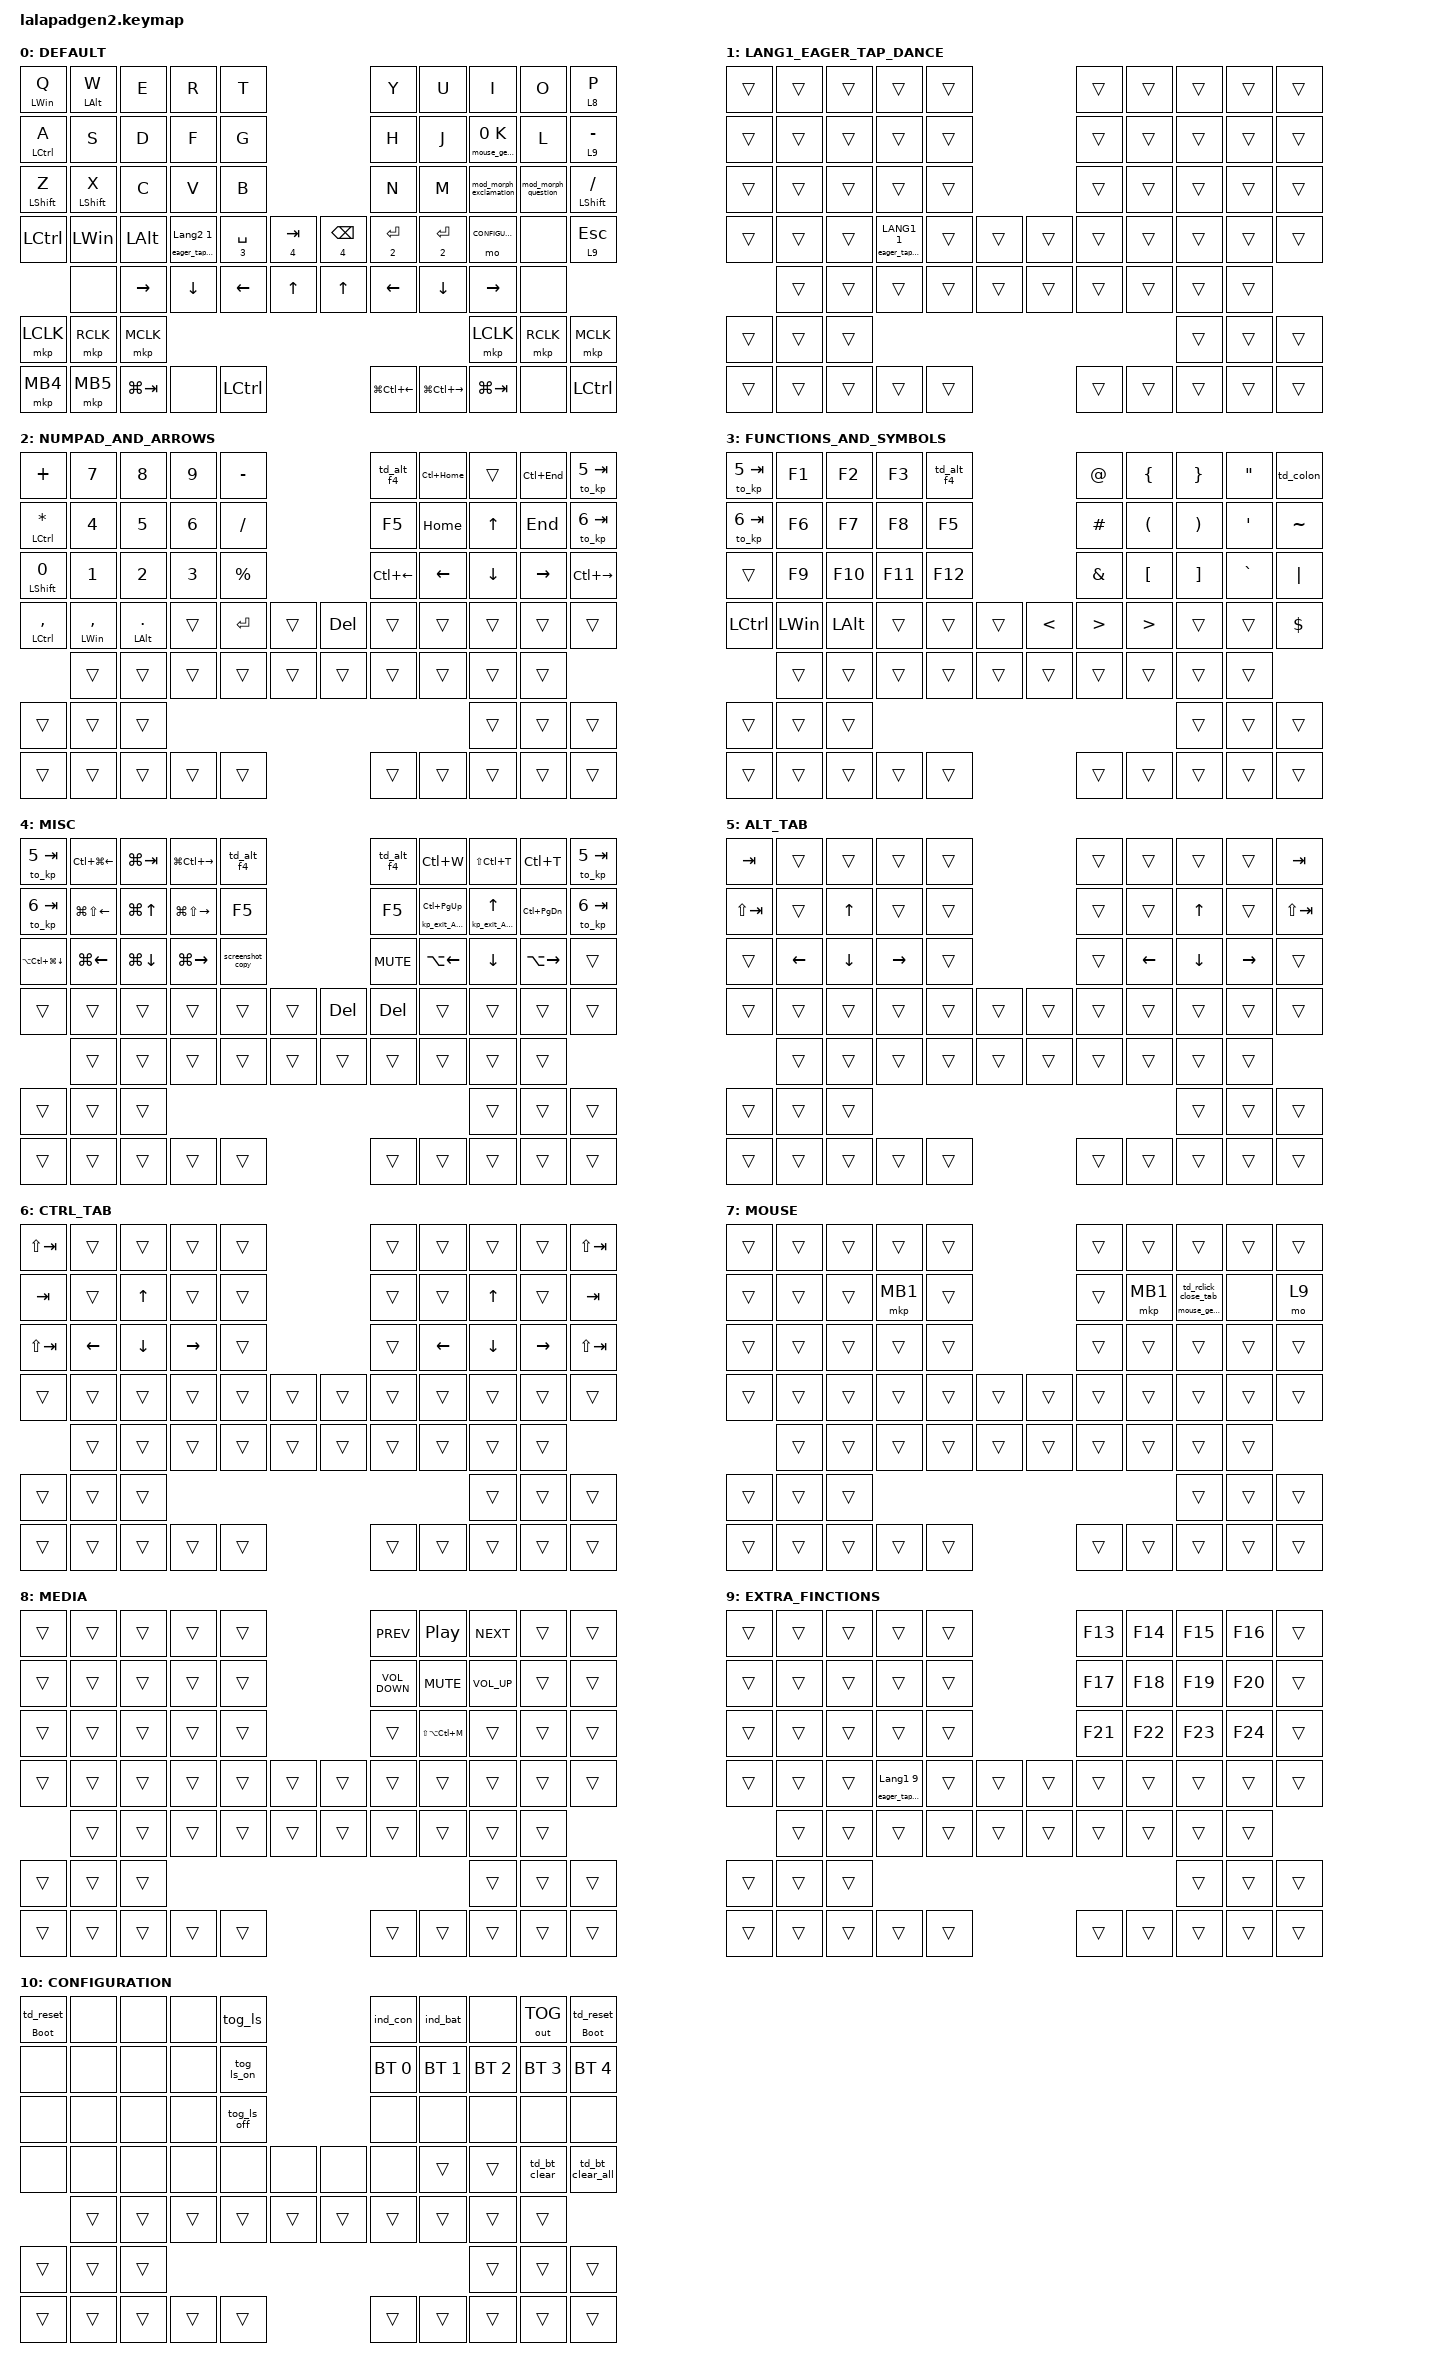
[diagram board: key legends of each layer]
#include <input/processors.dtsi>
#include <dt-bindings/zmk/input_transform.h>
#include <zephyr/dt-bindings/input/input-event-codes.h>
#include <behaviors/rgbled_widget.dtsi>
#include <input/processors/report_rate_limit.dtsi>


#include <behaviors.dtsi>
#include <dt-bindings/zmk/bt.h>
#include <dt-bindings/zmk/keys.h>
#include <dt-bindings/zmk/outputs.h>
#include <dt-bindings/zmk/pointing.h>

// #include <layout_shift.dtsi>
#include <layout_shift_kp_override.dtsi>
#include <mouse-gesture.dtsi>
#include <scroll-snap.dtsi>

#define DEFAULT 0
#define LANG1_EAGER_TAP_DANCE 1
#define NUMPAD_AND_ARROWS 2
#define FUNCTIONS_AND_SYMBOLS 3
#define MISC 4
#define ALT_TAB 5
#define CTRL_TAB 6
#define MOUSE 7
#define MEDIA 8
#define EXTRA_FINCTIONS 9
#define CONFIGURATION 10

&mt {
    tapping-term-ms = <200>;
    quick-tap-ms = <250>;
    flavor = "balanced";
};

&lt {
    tapping-term-ms = <200>;
    quick-tap-ms = <250>;
    flavor = "balanced";
};

&to { /delete-property/ locking; };

&tog { /delete-property/ locking; };

&sk { release-after-ms = <700>; };

&sl { release-after-ms = <1000>; };

&mouse_gesture_kp {
    tapping-term-ms = <200>;
    quick-tap-ms = <250>;
    flavor = "balanced";
};

&mouse_gesture_mkp {
    tapping-term-ms = <200>;
    quick-tap-ms = <250>;
    flavor = "balanced";
};

&zip_temp_layer {
    require-prior-idle-ms = <200>;
    excluded-positions = <
        13 // F
        16 // J
        17 // K
        18 // L
        19 // ;
        20 // Z
        // 27 // .
        // 28 // ,
        // 29 // /
        30 // Ctrl
    >;
};

&mkp_input_listener { input-processors = <&zip_temp_layer MOUSE 10000>; };

&zip_mouse_gesture {
    stroke-size = <250>;
    enable-eager-mode;
    always-active;
    movement-threshold = <0>;

    event-code-x = <INPUT_REL_HWHEEL>;
    event-code-y = <INPUT_REL_WHEEL>;

    history_back {
        pattern = <GESTURE_RIGHT>;
        bindings = <&kp LA(RIGHT)>;
    };

    history_forward {
        pattern = <GESTURE_LEFT>;
        bindings = <&kp LA(LEFT)>;
    };

    // close_tab {
    //     pattern = <GESTURE_DOWN GESTURE_RIGHT>;
    //     bindings = <&kp LC(W)>;
    // };

    // new_tab {
    //     pattern = <GESTURE_DOWN GESTURE_LEFT>;
    //     bindings = <&kp LC(T)>;
    // };

    // app_switcher {
    //     pattern = <GESTURE_DOWN GESTURE_UP>;
    //     bindings = <&kp LG(TAB)>;
    // };

    // virtual_desktop_prev {
    //     pattern = <GESTURE_LEFT GESTURE_DOWN>;
    //     bindings = <&kp LG(LC(LEFT))>;
    // };

    // virtual_desktop_next {
    //     pattern = <GESTURE_RIGHT GESTURE_DOWN>;
    //     bindings = <&kp LG(LC(RIGHT))>;
    // };
};

&zip_scroll_snap {
    require-n-samples = <8>;
    immediate-snap-threshold = <750>;
    lock-duration-ms = <175>;
    lock-for-next-n-events = <8>;
    idle-reset-timeout-ms = <175>;
};

// &trackball_listener {
//     compatible = "zmk,input-listener";
//     input-processors = <
//         &zip_xy_transform (INPUT_TRANSFORM_XY_SWAP | INPUT_TRANSFORM_X_INVERT)
//         &zip_mouse_gesture
//         &zip_report_rate_limit 15
//         // &zip_cursor_snap
//     >;

//     auto-mouse-layer {
//         layers = <DEFAULT MOUSE>;
//         input-processors = <&zip_temp_layer MOUSE 10000>;
//         process-next;
//     };

//     scroller {
//         layers = <EXTRA_FINCTIONS MISC MEDIA>;
//         input-processors = <
//             &zip_xy_scaler 3 1
//             &zip_xy_transform (INPUT_TRANSFORM_XY_SWAP | INPUT_TRANSFORM_X_INVERT | INPUT_TRANSFORM_Y_INVERT)
//             &zip_xy_to_scroll_mapper
//             &zip_scroll_snap
//             &zip_report_rate_limit 15
//         >;

//         process-next;
//     };

//     disable-scroll-x {
//         layers = <EXTRA_FINCTIONS>;
//         input-processors = <&wheel_x_scaler 0 1>;

//         process-next;
//     };
// };

/ {
    input_processors {
        wheel_x_scaler: wheel_x_scaler {
            compatible = "zmk,input-processor-scaler";
            #input-processor-cells = <2>;
            type = <INPUT_EV_REL>;
            codes = <INPUT_REL_HWHEEL>;
            track-remainders;
        };
    };

    layer_listeners {
        compatible = "zmk,layer-listeners";

        release_alt {
            layers = <ALT_TAB>;
            bindings = <&kt_on LEFT_ALT &kt_off LEFT_ALT>;
        };

        release_ctrl {
            layers = <CTRL_TAB>;
            bindings = <&kt_on LCTRL &kt_off LCTRL>;
        };

        // AML_indicator {
        //     layers = <MOUSE>;
        //     bindings = <&kp LS(LA(LC(LG(H)))) &kp LS(LA(LC(LG(H))))>;
        // };
        // AML {
        //     layers = <MOUSE>;
        //     bindings = <&to MOUSE &none>;
        // };
    };

    combos {
        compatible = "zmk,combos";

        eq {
            bindings = <&kp EQUAL>;
            key-positions = <0 1>;
            layers = <2>;
        };

        hat {
            bindings = <&kp CARET>;
            key-positions = <10 11>;
            layers = <2>;
        };

        middle_click {
            bindings = <&mkp MCLK>;
            key-positions = <18 19>;
            layers = <7>;
        };

        shift_middle_click {
            bindings = <&mkp_with_mod LEFT_SHIFT MCLK>;
            key-positions = <19 20>;
            layers = <7>;
        };

        Escape {
            bindings = <&kp ESCAPE>;
            key-positions = <0 1>;
            layers = <0>;
            require-prior-idle-ms = <300>;
        };

        caps_word {
            bindings = <&caps_word>;
            key-positions = <22 33>;
            layers = <0>;
            require-prior-idle-ms = <300>;
        };

        dot_slash_backslash {
            bindings = <&kp BACKSLASH>;
            key-positions = <33 32>;
            layers = <0>;
        };

        Ctrl_A {
            bindings = <&kp LC(A)>;
            key-positions = <10 11>;
            layers = <0>;
            require-prior-idle-ms = <300>;
        };

        Ctrl_Z {
            bindings = <&kp LC(Z)>;
            key-positions = <23 22>;
            layers = <0>;
            require-prior-idle-ms = <300>;
        };
    };

    macros {
        /omit-if-no-ref/

        exit_AML: exit_AML {
            compatible = "zmk,behavior-macro";
            wait-ms = <0>;
            tap-ms = <0>;
            #binding-cells = <0>;
            bindings = <&tog_off 7>;
        };

        /omit-if-no-ref/

        kp_exit_AML: kp_exit_AML {
            compatible = "zmk,behavior-macro-one-param";
            wait-ms = <0>;
            tap-ms = <0>;
            #binding-cells = <1>;
            bindings = <&macro_param_1to1 &kp MACRO_PLACEHOLDER &exit_AML>;
        };

        /omit-if-no-ref/

        mod_exit_AML: mod_exit_AML {
            compatible = "zmk,behavior-macro-one-param";
            wait-ms = <0>;
            tap-ms = <0>;
            #binding-cells = <1>;
            bindings =
                <&macro_press>,
                <&macro_param_1to1 &kp MACRO_PLACEHOLDER>,
                <&macro_tap>,
                <&exit_AML>,
                <&macro_pause_for_release>,
                <&macro_release>,
                <&macro_param_1to1 &kp MACRO_PLACEHOLDER>;
        };

        /omit-if-no-ref/

        mkp_exit_AML: mkp_exit_AML {
            compatible = "zmk,behavior-macro-one-param";
            #binding-cells = <1>;
            bindings =
                <&macro_press>,
                <&macro_param_1to1 &mkp MACRO_PLACEHOLDER>,
                <&macro_pause_for_release>,
                <&macro_release>,
                <&macro_param_1to1 &mkp MACRO_PLACEHOLDER>,
                <&macro_tap>,
                <&sl 7>;
        };

        /omit-if-no-ref/

        mo_exit_AML: mo_exit_AML {
            compatible = "zmk,behavior-macro-one-param";
            wait-ms = <0>;
            tap-ms = <0>;
            #binding-cells = <1>;
            bindings =
                <&macro_press>,
                <&macro_param_1to1 &mo MACRO_PLACEHOLDER>,
                <&macro_tap>,
                <&exit_AML>,
                <&macro_pause_for_release>,
                <&macro_release>,
                <&macro_param_1to1 &mo MACRO_PLACEHOLDER>,
                <&macro_tap>;
        };

        /omit-if-no-ref/

        mo_exit_alttab: mo_exit_alttab_ctrltab {
            compatible = "zmk,behavior-macro-one-param";
            wait-ms = <0>;
            tap-ms = <0>;
            #binding-cells = <1>;
            bindings =
                <&macro_press>,
                <&macro_param_1to1 &mo MACRO_PLACEHOLDER>,
                <&macro_tap>,
                <&macro_pause_for_release>,
                <&macro_release>,
                <&macro_param_1to1 &mo MACRO_PLACEHOLDER>,
                <&macro_tap>,
                <&tog_off 5 &tog_off 6>;
        };

        /omit-if-no-ref/

        kp_to: kp_to {
            compatible = "zmk,behavior-macro-two-param";
            wait-ms = <0>;
            tap-ms = <0>;
            #binding-cells = <2>;
            bindings = <&macro_param_1to1 &kp MACRO_PLACEHOLDER &macro_param_2to1 &to MACRO_PLACEHOLDER>;
        };

        /omit-if-no-ref/

        to_kp: to_kp {
            compatible = "zmk,behavior-macro-two-param";
            #binding-cells = <2>;
            bindings = <&macro_param_1to1 &to MACRO_PLACEHOLDER &macro_param_2to1 &kp MACRO_PLACEHOLDER>;
        };

        /omit-if-no-ref/

        zoom_in: zoom_in {
            compatible = "zmk,behavior-macro";
            #binding-cells = <0>;
            bindings = <&kt_on LCTRL &msc SCRL_UP &kt_off LCTRL>;
        };

        /omit-if-no-ref/

        zoom_out: zoom_out {
            compatible = "zmk,behavior-macro";
            #binding-cells = <0>;
            bindings = <&kt_on LCTRL &msc SCRL_DOWN &kt_off LCTRL>;
        };

        /omit-if-no-ref/

        eager_tap_dance: eager_tap_dance {
            compatible = "zmk,behavior-macro-two-param";
            #binding-cells = <2>;
            bindings =
                <&macro_press>,
                <&macro_param_1to1 &kp MACRO_PLACEHOLDER>,
                <&macro_pause_for_release>,
                <&macro_release>,
                <&macro_param_1to1 &kp MACRO_PLACEHOLDER>,
                <&macro_tap>,
                <&exit_AML &macro_param_2to1 &sl_250 MACRO_PLACEHOLDER>;
        };
    };

    behaviors {
        /omit-if-no-ref/

        tog_on: toggle_layer_on {
            compatible = "zmk,behavior-toggle-layer";
            #binding-cells = <1>;
            display-name = "Toggle Layer On";
            toggle-mode = "on";
        };

        /omit-if-no-ref/

        tog_off: toggle_layer_off {
            compatible = "zmk,behavior-toggle-layer";
            #binding-cells = <1>;
            display-name = "Toggle Layer Off";
            toggle-mode = "off";
        };

        /omit-if-no-ref/

        kt_on: key_toggle_on_only {
            compatible = "zmk,behavior-key-toggle";
            #binding-cells = <1>;
            display-name = "Key Toggle On";
            toggle-mode = "on";
        };

        /omit-if-no-ref/

        kt_off: key_toggle_off_only {
            compatible = "zmk,behavior-key-toggle";
            #binding-cells = <1>;
            display-name = "Key Toggle Off";
            toggle-mode = "off";
        };

        /omit-if-no-ref/

        td_colon: td_colon {
            compatible = "zmk,behavior-tap-dance";
            #binding-cells = <0>;
            bindings = <&kp COLON>, <&kp SEMICOLON>;

            tapping-term-ms = <250>;
        };

        /omit-if-no-ref/

        td_q_escape: td_q_escape {
            compatible = "zmk,behavior-tap-dance";
            #binding-cells = <0>;
            tapping-term-ms = <250>;
            bindings = <&kp Q>, <&kp ESCAPE>;
        };

        /omit-if-no-ref/

        td_ZenkakuHankaku: td_ZenkakuHankaku {
            compatible = "zmk,behavior-tap-dance";

            // compatible = "zmk,behavior-eager-tap-dance";

            #binding-cells = <0>;
            tapping-term-ms = <250>;
            bindings = <&kp LANGUAGE_2>, <&kp LANGUAGE_1>;
        };

        /omit-if-no-ref/

        td_ZenkakuHankaku_exit_AML: td_ZenkakuHankaku_exit_AML {
            wait-ms = <0>;
            tap-ms = <0>;
            compatible = "zmk,behavior-macro";
            #binding-cells = <0>;
            bindings = <&td_ZenkakuHankaku &exit_AML>;
        };

        /omit-if-no-ref/

        alt_tab: alt_tab {
            compatible = "zmk,behavior-macro-two-param";
            #binding-cells = <2>;
            bindings = <&macro_param_1to1 &kt_on MACRO_PLACEHOLDER &macro_param_2to1 &kp MACRO_PLACEHOLDER &macro_param_1to1 &sk MACRO_PLACEHOLDER &macro_param_1to1 &kt_off MACRO_PLACEHOLDER>;
        };

        /omit-if-no-ref/

        windows_sleep: windows_sleep {
            compatible = "zmk,behavior-macro";
            wait-ms = <200>;
            tap-ms = <100>;
            #binding-cells = <0>;
            bindings = <&kp LG(X) &kp U &kp S>;
        };

        /omit-if-no-ref/

        screensot_save: screensot_save {
            compatible = "zmk,behavior-macro";
            #binding-cells = <0>;
            bindings = <&kp LS(F11)>;
            label = "SCREENSOT_SAVE";
        };

        mkp_with_mod: mkp_with_mod {
            compatible = "zmk,behavior-macro-two-param";
            #binding-cells = <2>;
            bindings =
                <&macro_press>,
                <&macro_param_1to1 &kp MACRO_PLACEHOLDER &macro_param_2to1 &mkp MACRO_PLACEHOLDER>,
                <&macro_pause_for_release>,
                <&macro_release>,
                <&macro_param_2to1 &mkp MACRO_PLACEHOLDER &macro_param_1to1 &kp MACRO_PLACEHOLDER>;

            label = "MKP_WITH_MOD";
        };

        /omit-if-no-ref/

        screenshot_copy: screenshot_copy {
            compatible = "zmk,behavior-mod-morph";
            bindings = <&kp LA(PRINTSCREEN)>, <&kp LA(PRINTSCREEN)>;

            #binding-cells = <0>;
            mods = <(MOD_LSFT|MOD_LALT)>;
            keep-mods = <(MOD_LALT)>;
        };

        /omit-if-no-ref/

        mod_morph_exclamation: mod_morph_exclamation {
            compatible = "zmk,behavior-mod-morph";
            bindings = <&kp COMMA>, <&kp EXCL>;

            #binding-cells = <0>;
            mods = <(MOD_LSFT)>;
        };

        /omit-if-no-ref/

        mod_morph_question: mod_morph_question {
            compatible = "zmk,behavior-mod-morph";
            bindings = <&kp PERIOD>, <&kp QUESTION>;

            #binding-cells = <0>;
            mods = <(MOD_LSFT)>;
        };

        /omit-if-no-ref/

        mod_morph_slash: mod_morph_slash {
            compatible = "zmk,behavior-mod-morph";
            bindings = <&kp SLASH>, <&kp BACKSLASH>;

            #binding-cells = <0>;
            mods = <(MOD_LSFT)>;
        };

        /omit-if-no-ref/

        td_alt_f4: td_alt_f4 {
            compatible = "zmk,behavior-tap-dance";
            #binding-cells = <0>;
            bindings = <&kp F4>, <&kp LA(F4)>;

            tapping-term-ms = <250>;
        };

        /omit-if-no-ref/

        lt_exit_AML: lt_exit_AML {
            compatible = "zmk,behavior-hold-tap";
            bindings = <&mo_exit_AML>, <&kp_exit_AML>;

            #binding-cells = <2>;
            tapping-term-ms = <200>;
            quick-tap-ms = <200>;
            flavor = "balanced";
        };

        /omit-if-no-ref/

        lt_exit_AML_on_hold: lt_exit_AML_on_hold {
            compatible = "zmk,behavior-hold-tap";
            bindings = <&mo_exit_AML>, <&kp>;

            #binding-cells = <2>;
            tapping-term-ms = <200>;
            quick-tap-ms = <200>;
            flavor = "balanced";
        };

        /omit-if-no-ref/

        lt_exit_alttab: lt_exit_alttab_ctrltab_on_hold_release {
            compatible = "zmk,behavior-hold-tap";
            bindings = <&mo_exit_alttab>, <&kp>;

            #binding-cells = <2>;
            tapping-term-ms = <200>;
            quick-tap-ms = <200>;
            flavor = "balanced";
        };

        /omit-if-no-ref/

        mt_exit_AML: mt_exit_AML {
            compatible = "zmk,behavior-hold-tap";
            bindings = <&mod_exit_AML>, <&kp_exit_AML>;

            #binding-cells = <2>;
            tapping-term-ms = <200>;
            flavor = "balanced";
            quick-tap-ms = <200>;
        };

        /omit-if-no-ref/

        mt_exit_AML_on_tap: mt_exit_AML_on_tap {
            compatible = "zmk,behavior-hold-tap";
            bindings = <&kp>, <&kp_exit_AML>;

            #binding-cells = <2>;
            tapping-term-ms = <200>;
            flavor = "balanced";
            quick-tap-ms = <200>;
        };

        /omit-if-no-ref/

        encoder_zoom: encoder_zoom {
            compatible = "zmk,behavior-sensor-rotate";
            #sensor-binding-cells = <0>;
            bindings = <&zoom_out>, <&zoom_in>;
        };

        /omit-if-no-ref/

        encoder_volume: encoder_volume {
            compatible = "zmk,behavior-sensor-rotate";
            #sensor-binding-cells = <0>;
            bindings = <&kp C_VOLUME_DOWN>, <&kp C_VOLUME_UP>;
        };

        // /omit-if-no-ref/

        lt_zoom_out: lt_zoom_out {
            compatible = "zmk,behavior-hold-tap";
            bindings = <&mo_exit_AML>, <&zoom_out>;

            #binding-cells = <2>;
            tapping-term-ms = <200>;
            quick-tap-ms = <200>;
            flavor = "balanced";
        };

        /omit-if-no-ref/

        sl_250: sl_250 {
            compatible = "zmk,behavior-sticky-key";
            bindings = <&mo>;
            #binding-cells = <1>;
            release-after-ms = <250>;
        };

        /omit-if-no-ref/

        td_bt_clear: td_bt_clear {
            compatible = "zmk,behavior-tap-dance";
            #binding-cells = <0>;
            bindings = <&none>, <&none>, <&bt BT_CLR>;

            tapping-term-ms = <250>;
        };

        /omit-if-no-ref/

        td_bt_clear_all: td_bt_clear_all {
            compatible = "zmk,behavior-tap-dance";
            #binding-cells = <0>;
            tapping-term-ms = <250>;
            bindings = <&none>, <&none>, <&bt BT_CLR_ALL>;
        };

        /omit-if-no-ref/

        td_copy_paste: td_copy_paste {
            compatible = "zmk,behavior-tap-dance";
            #binding-cells = <0>;
            bindings = <&kp_exit_AML LC(C)>, <&kp_exit_AML LC(V)>;

            tapping-term-ms = <250>;
        };

        /omit-if-no-ref/

        td_reset: td_reset {
            compatible = "zmk,behavior-tap-dance";
            #binding-cells = <0>;
            bindings = <&none>, <&sys_reset>;

            tapping-term-ms = <300>;
        };

        /omit-if-no-ref/

        reset_bootloader: reset_bootloader {
            compatible = "zmk,behavior-hold-tap";
            #binding-cells = <2>;
            bindings = <&bootloader>, <&td_reset>;

            tapping-term-ms = <500>;
            flavor = "balanced";
        };

        /omit-if-no-ref/

        td_rclick_close_tab: td_rclick_close_tab {
            compatible = "zmk,behavior-tap-dance";
            #binding-cells = <0>;
            bindings = <&mkp RCLK>, <&kp LC(W)>;

            tapping-term-ms = <250>;
        };

        /omit-if-no-ref/

        td_rclick_close_tab_mouse_gesture: td_rclick_close_tab_mouse_gesture {
            compatible = "zmk,behavior-hold-tap";
            #binding-cells = <2>;
            bindings = <&mouse_gesture>, <&td_rclick_close_tab>;

            tapping-term-ms = <150>;
            flavor = "balanced";
        };
    };

    keymap {
        compatible = "zmk,keymap";

        DEFAULT {
            bindings = <
&mt LWIN Q                        &mt LALT W        &kp E         &kp R                          &kp T                                                                        &kp Y                    &kp U                    &kp I                   &kp O                &lt 8 P
&mt LCTRL A                       &kp S             &kp D         &kp F                          &kp G                                                                        &kp H                    &kp J                    &mouse_gesture_kp 0 K   &kp L                &lt 9 MINUS
&mt_exit_AML_on_tap LEFT_SHIFT Z  &mt LEFT_SHIFT X  &kp C         &kp V                          &kp B                                                                        &kp N                    &kp M                    &mod_morph_exclamation  &mod_morph_question  &mt LEFT_SHIFT SLASH
&kp LCTRL                         &kp LEFT_WIN      &kp LEFT_ALT  &eager_tap_dance LANGUAGE_2 1  &lt_exit_alttab 3 SPACE  &lt_exit_alttab 4 TAB  &lt_exit_alttab 4 BACKSPACE  &lt_exit_alttab 2 ENTER  &lt_exit_alttab 2 ENTER  &mo CONFIGURATION       &none                &lt 9 ESCAPE
                                  &none             &kp RIGHT     &kp DOWN                       &kp LEFT                 &kp UP                 &kp UP                       &kp LEFT                 &kp DOWN                 &kp RIGHT               &none
&mkp LCLK                         &mkp RCLK         &mkp MCLK                                                                                                                                                                   &mkp LCLK               &mkp RCLK            &mkp MCLK
&mkp MB4                          &mkp MB5          &kp LG(TAB)   &none                          &kp LCTRL                                                                    &kp LG(LC(LEFT))         &kp LG(LC(RIGHT))        &kp LG(TAB)             &none                &kp LCTRL
            >;
        };

        LANG1_EAGER_TAP_DANCE {
            bindings = <
&trans  &trans  &trans  &trans                    &trans                  &trans  &trans  &trans  &trans  &trans
&trans  &trans  &trans  &trans                    &trans                  &trans  &trans  &trans  &trans  &trans
&trans  &trans  &trans  &trans                    &trans                  &trans  &trans  &trans  &trans  &trans
&trans  &trans  &trans  &eager_tap_dance LANG1 1  &trans  &trans  &trans  &trans  &trans  &trans  &trans  &trans
        &trans  &trans  &trans                    &trans  &trans  &trans  &trans  &trans  &trans  &trans
&trans  &trans  &trans                                                                    &trans  &trans  &trans
&trans  &trans  &trans  &trans                    &trans                  &trans  &trans  &trans  &trans  &trans
            >;
        };

        NUMPAD_AND_ARROWS {
            bindings = <
&kp PLUS                   &kp N7              &kp N8               &kp N9  &kp MINUS                        &td_alt_f4    &kp LC(HOME)  &trans        &kp LC(END)  &to_kp 5 TAB
&mt LEFT_CONTROL ASTERISK  &kp N4              &kp N5               &kp N6  &kp SLASH                        &kp F5        &kp HOME      &kp UP_ARROW  &kp END      &to_kp 6 TAB
&mt LEFT_SHIFT N0          &kp N1              &kp N2               &kp N3  &kp PERCENT                      &kp LC(LEFT)  &kp LEFT      &kp DOWN      &kp RIGHT    &kp LC(RIGHT)
&mt LCTRL COMMA            &mt LEFT_WIN COMMA  &mt LEFT_ALT PERIOD  &trans  &kp ENTER    &trans  &kp DELETE  &trans        &trans        &trans        &trans       &trans
                           &trans              &trans               &trans  &trans       &trans  &trans      &trans        &trans        &trans        &trans
&trans                     &trans              &trans                                                                                    &trans        &trans       &trans
&trans                     &trans              &trans               &trans  &trans                           &trans        &trans        &trans        &trans       &trans
            >;
        };

        FUNCTIONS_AND_SYMBOLS {
            bindings = <
&to_kp 5 TAB  &kp F1        &kp F2        &kp F3   &td_alt_f4                         &kp AT_SIGN       &kp LEFT_BRACE        &kp RIGHT_BRACE        &kp DOUBLE_QUOTES  &td_colon
&to_kp 6 TAB  &kp F6        &kp F7        &kp F8   &kp F5                             &kp HASH          &kp LEFT_PARENTHESIS  &kp RIGHT_PARENTHESIS  &kp SINGLE_QUOTE   &kp TILDE
&trans        &kp F9        &kp F10       &kp F11  &kp F12                            &kp AMPERSAND     &kp LEFT_BRACKET      &kp RIGHT_BRACKET      &kp GRAVE          &kp PIPE
&kp LCTRL     &kp LEFT_WIN  &kp LEFT_ALT  &trans   &trans      &trans  &kp LESS_THAN  &kp GREATER_THAN  &kp GREATER_THAN      &trans                 &trans             &kp DOLLAR
              &trans        &trans        &trans   &trans      &trans  &trans         &trans            &trans                &trans                 &trans
&trans        &trans        &trans                                                                                            &trans                 &trans             &trans
&trans        &trans        &trans        &trans   &trans                             &trans            &trans                &trans                 &trans             &trans
            >;
        };

        MISC {
            bindings = <
&to_kp 5 TAB          &kp LC(LG(LEFT))        &kp LG(TAB)       &kp LG(LC(RIGHT))        &td_alt_f4                            &td_alt_f4  &kp LC(W)                 &kp LS(LC(T))          &kp LC(T)          &to_kp 5 TAB
&to_kp 6 TAB          &kp LG(LS(LEFT_ARROW))  &kp LG(UP_ARROW)  &kp LG(LS(RIGHT_ARROW))  &kp F5                                &kp F5      &kp_exit_AML LC(PAGE_UP)  &kp_exit_AML UP_ARROW  &kp LC(PAGE_DOWN)  &to_kp 6 TAB
&kp LA(LC(LG(DOWN)))  &kp LG(LEFT_ARROW)      &kp LG(DOWN)      &kp LG(RIGHT_ARROW)      &screenshot_copy                      &kp K_MUTE  &kp LA(LEFT)              &kp DOWN               &kp LA(RIGHT)      &trans
&trans                &trans                  &trans            &trans                   &trans            &trans  &kp DELETE  &kp DELETE  &trans                    &trans                 &trans             &trans
                      &trans                  &trans            &trans                   &trans            &trans  &trans      &trans      &trans                    &trans                 &trans
&trans                &trans                  &trans                                                                                                                 &trans                 &trans             &trans
&trans                &trans                  &trans            &trans                   &trans                                &trans      &trans                    &trans                 &trans             &trans
            >;
        };

        ALT_TAB {
            bindings = <
&kp TAB      &trans    &trans    &trans     &trans                  &trans  &trans    &trans    &trans     &kp TAB
&kp LS(TAB)  &trans    &kp UP    &trans     &trans                  &trans  &trans    &kp UP    &trans     &kp LS(TAB)
&trans       &kp LEFT  &kp DOWN  &kp RIGHT  &trans                  &trans  &kp LEFT  &kp DOWN  &kp RIGHT  &trans
&trans       &trans    &trans    &trans     &trans  &trans  &trans  &trans  &trans    &trans    &trans     &trans
             &trans    &trans    &trans     &trans  &trans  &trans  &trans  &trans    &trans    &trans
&trans       &trans    &trans                                                         &trans    &trans     &trans
&trans       &trans    &trans    &trans     &trans                  &trans  &trans    &trans    &trans     &trans
            >;
        };

        CTRL_TAB {
            bindings = <
&kp LS(TAB)  &trans    &trans    &trans     &trans                  &trans  &trans    &trans    &trans     &kp LS(TAB)
&kp TAB      &trans    &kp UP    &trans     &trans                  &trans  &trans    &kp UP    &trans     &kp TAB
&kp LS(TAB)  &kp LEFT  &kp DOWN  &kp RIGHT  &trans                  &trans  &kp LEFT  &kp DOWN  &kp RIGHT  &kp LS(TAB)
&trans       &trans    &trans    &trans     &trans  &trans  &trans  &trans  &trans    &trans    &trans     &trans
             &trans    &trans    &trans     &trans  &trans  &trans  &trans  &trans    &trans    &trans
&trans       &trans    &trans                                                         &trans    &trans     &trans
&trans       &trans    &trans    &trans     &trans                  &trans  &trans    &trans    &trans     &trans
            >;
        };

        MOUSE {
            bindings = <
&trans  &trans  &trans  &trans   &trans                  &trans  &trans    &trans                                  &trans  &trans
&trans  &trans  &trans  &mkp MB1 &trans                  &trans  &mkp MB1  &td_rclick_close_tab_mouse_gesture 0 0  &none   &mo 9
&trans  &trans  &trans  &trans   &trans                  &trans  &trans    &trans                                  &trans  &trans
&trans  &trans  &trans  &trans   &trans  &trans  &trans  &trans  &trans    &trans                                  &trans  &trans
        &trans  &trans  &trans   &trans  &trans  &trans  &trans  &trans    &trans                                  &trans
&trans  &trans  &trans                                                     &trans                                  &trans  &trans
&trans  &trans  &trans  &trans   &trans                  &trans  &trans    &trans                                  &trans  &trans
            >;
        };

        MEDIA {
            bindings = <
&trans  &trans  &trans  &trans  &trans                  &kp C_PREV         &kp C_PLAY_PAUSE   &kp C_NEXT       &trans  &trans
&trans  &trans  &trans  &trans  &trans                  &kp C_VOLUME_DOWN  &kp C_MUTE         &kp C_VOLUME_UP  &trans  &trans
&trans  &trans  &trans  &trans  &trans                  &trans             &kp LS(LA(LC(M)))  &trans           &trans  &trans
&trans  &trans  &trans  &trans  &trans  &trans  &trans  &trans             &trans             &trans           &trans  &trans
        &trans  &trans  &trans  &trans  &trans  &trans  &trans             &trans             &trans           &trans
&trans  &trans  &trans                                                                        &trans           &trans  &trans
&trans  &trans  &trans  &trans  &trans                  &trans             &trans             &trans           &trans  &trans
            >;
        };

        EXTRA_FINCTIONS {
            bindings = <
&trans  &trans  &trans  &trans                         &trans                  &kp F13  &kp F14  &kp F15  &kp F16  &trans
&trans  &trans  &trans  &trans                         &trans                  &kp F17  &kp F18  &kp F19  &kp F20  &trans
&trans  &trans  &trans  &trans                         &trans                  &kp F21  &kp F22  &kp F23  &kp F24  &trans
&trans  &trans  &trans  &eager_tap_dance LANGUAGE_1 9  &trans  &trans  &trans  &trans   &trans   &trans   &trans   &trans
        &trans  &trans  &trans                         &trans  &trans  &trans  &trans   &trans   &trans   &trans
&trans  &trans  &trans                                                                           &trans   &trans   &trans
&trans  &trans  &trans  &trans                         &trans                  &trans   &trans   &trans   &trans   &trans
            >;
        };

        CONFIGURATION {
            bindings = <
&reset_bootloader 0 0  &none   &none   &none   &tog_ls                      &ind_con      &ind_bat      &none         &out OUT_TOG  &reset_bootloader 0 0
&none                  &none   &none   &none   &tog_ls_on                   &bt BT_SEL 0  &bt BT_SEL 1  &bt BT_SEL 2  &bt BT_SEL 3  &bt BT_SEL 4
&none                  &none   &none   &none   &tog_ls_off                  &none         &none         &none         &none         &none
&none                  &none   &none   &none   &none        &none   &none   &none         &trans        &trans        &td_bt_clear  &td_bt_clear_all
                       &trans  &trans  &trans  &trans       &trans  &trans  &trans        &trans        &trans        &trans
&trans                 &trans  &trans                                                                   &trans        &trans        &trans
&trans                 &trans  &trans  &trans  &trans                       &trans        &trans        &trans        &trans        &trans
            >;
        };
    };
};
